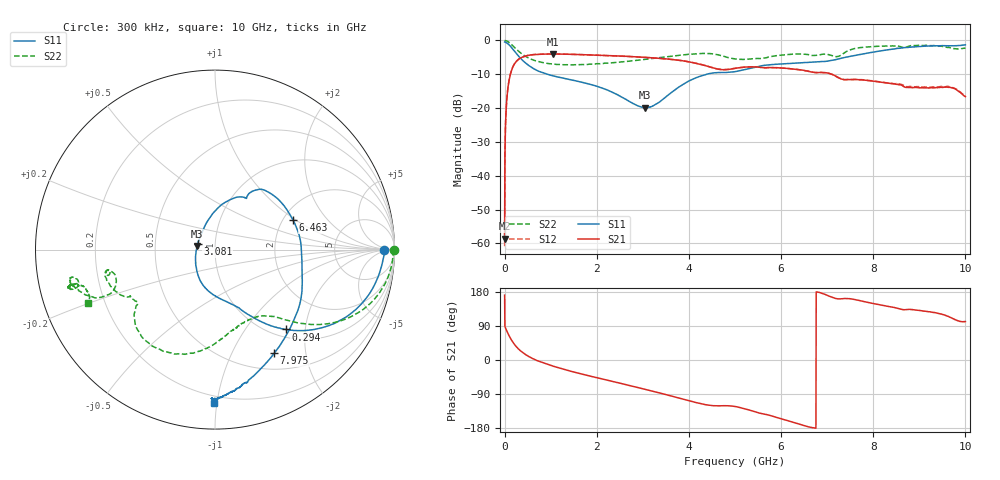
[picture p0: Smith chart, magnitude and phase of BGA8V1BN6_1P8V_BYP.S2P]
!Agilent Technologies,E5071C,MY46316587,B.13.01
!Date: Tue Nov 28 12:41:44 2017
!Data & Calibration Information:
!Freq	S11:SOLT2(ON)	S21:SOLT2(ON)	S12:SOLT2(ON)	S22:SOLT2(ON)
!PortZ  Port1:50+j0  Port2:50+j0
!Above PortZ is port z conversion or system Z0 setting when saving the data.
!When reading, reference impedance value at option line is always used.
# Hz S dB R 50
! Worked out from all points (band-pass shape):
!   1601 points, 300 kHz to 10 GHz, reference 50 ohm
!   highest |S21| = -4.04 dB at 1.044 GHz (marker M1); lowest = -58.6 dB at 300 kHz (marker M2)
!   |S21| within 3 dB of the highest: 211.3 MHz to 4.234 GHz (4.023 GHz wide, 181 % of centre)
!   lowest |S11| = -19.9 dB at 3.044 GHz (marker M3), VSWR 1.22, Z = 41 + j1.69 ohm
!   |S11| at or under -10 dB: 924.2 MHz to 4.386 GHz (3.462 GHz wide, 130 % of centre)
!   |S22| runs from -7.3 to 0.0 dB; largest |S21 - S12| = 0.0093
!   S11 on the Smith chart (normalised r, x): 300 kHz: 35, -2; 294 MHz: 1.14, -1.57; 3.081 GHz: 0.82, +0.05; 6.463 GHz: 2.26, +0.95; 7.975 GHz: 0.71, -1.48; 10 GHz: 0.15, -0.98
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300000  -0.50 -0.2  -58.61 171.1  -60.81 74.4  -0.04 -0.1
5.654831e7  -0.86 -13.7  -16.10 74.2  -16.01 74.4  -0.25 -10.3
7.529775e7  -1.06 -17.8  -13.79 69.4  -13.72 69.4  -0.40 -13.4
1.565453e8  -2.24 -32.7  -8.66 51.3  -8.59 51.3  -1.32 -25.0
2.940412e8  -4.53 -48.5  -5.71 30.0  -5.68 29.9  -3.11 -36.7
5.690329e8  -7.85 -63.0  -4.32 6.3  -4.30 6.3  -5.54 -46.4
1.044019e9  -10.46 -76.7  -4.04 -16.0  -4.03 -15.9  -7.00 -56.3
1.669e9  -12.36 -96.2  -4.23 -36.8  -4.23 -36.7  -7.16 -68.4
3.043959e9  -19.94 168.3  -5.03 -77.3  -5.06 -77.2  -5.63 -89.8
3.081458e9  -19.86 162.7  -5.06 -78.4  -5.08 -78.2  -5.58 -90.4
3.3377e9  -18.46 127.7  -5.30 -86.1  -5.32 -86.3  -5.16 -94.8
4.131426e9  -11.20 76.3  -6.72 -111.6  -6.73 -111.7  -4.00 -115.7
4.600162e9  -9.55 61.0  -8.43 -120.9  -8.43 -121.1  -4.20 -135.3
5.00015e9  -9.26 58.9  -8.29 -122.7  -8.26 -122.6  -5.54 -144.8
5.68138e9  -7.31 50.0  -8.10 -143.9  -8.10 -144.1  -5.14 -151.5
6.462606e9  -6.65 20.7  -8.80 -171.8  -8.82 -171.8  -4.05 -167.3
6.66885e9  -6.45 9.4  -9.39 -178.3  -9.38 -178.6  -4.47 -168.7
7.262582e9  -5.44 -24.8  -11.18 161.2  -11.16 161.1  -4.67 -160.7
7.975061e9  -3.54 -60.3  -12.01 149.6  -11.97 149.4  -1.86 -164.6
8.33755e9  -2.76 -71.8  -12.67 141.2  -12.62 140.9  -1.65 -167.1
9.65001e9  -1.64 -91.3  -13.88 113.8  -13.68 114.5  -2.12 -165.4
1e10  -1.34 -90.4  -16.64 101.4  -16.57 101.2  -2.30 -157.3
